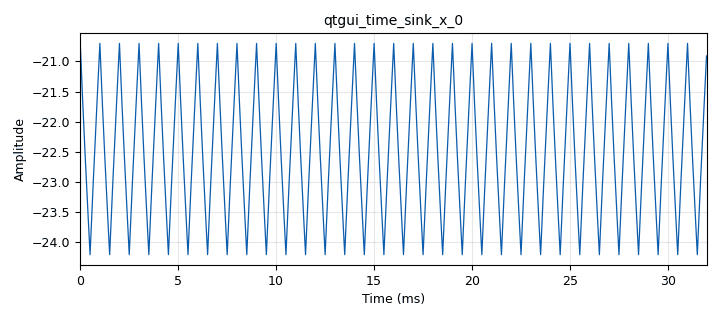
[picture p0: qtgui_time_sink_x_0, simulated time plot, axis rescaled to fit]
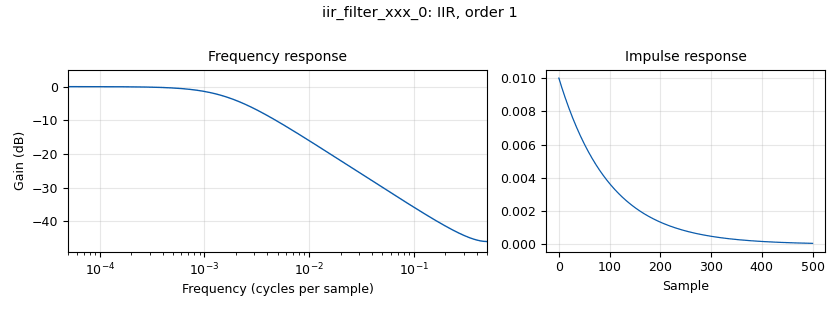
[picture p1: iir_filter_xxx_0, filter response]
options:
  parameters:
    author: Aman RIshal C H
    generate_options: qt_gui
    id: task2b
    output_language: python
    title: Not titled yet
  states: {}

blocks:
- name: samp_rate
  id: variable
  parameters:
    value: '32000'
  states: {}
- name: analog_sig_source_x_0
  id: analog_sig_source_x
  parameters:
    amp: '1'
    freq: '1000'
    offset: '45'
    phase: '0'
    samp_rate: samp_rate
    type: complex
    waveform: analog.GR_COS_WAVE
  states: {}
- name: blocks_complex_to_float_0
  id: blocks_complex_to_float
  parameters: {}
  states: {}
- name: blocks_multiply_xx_0
  id: blocks_multiply_xx
  parameters:
    type: float
  states: {}
- name: blocks_multiply_xx_0_0
  id: blocks_multiply_xx
  parameters:
    type: float
  states: {}
- name: blocks_sub_xx_0
  id: blocks_sub_xx
  parameters:
    type: float
  states: {}
- name: blocks_threshold_ff_0
  id: blocks_threshold_ff
  parameters:
    high: '0.001'
    init: '0'
    low: '-0.001'
  states: {}
- name: blocks_threshold_ff_0_0
  id: blocks_threshold_ff
  parameters:
    high: '0.001'
    init: '0'
    low: '-0.001'
  states: {}
- name: iir_filter_xxx_0
  id: iir_filter_xxx
  parameters:
    fbtaps: '[-1,0.99]'
    fftaps: '[0.01]'
    type: ffd
  states: {}
- name: qtgui_time_sink_x_0
  id: qtgui_time_sink_x
  parameters:
    size: '1024'
    srate: samp_rate
    type: float
  states: {}

connections:
- [analog_sig_source_x_0, '0', blocks_complex_to_float_0, '0']
- [blocks_complex_to_float_0, '0', blocks_multiply_xx_0_0, '1']
- [blocks_complex_to_float_0, '0', blocks_threshold_ff_0, '0']
- [blocks_complex_to_float_0, '1', blocks_multiply_xx_0, '0']
- [blocks_complex_to_float_0, '1', blocks_threshold_ff_0_0, '0']
- [blocks_multiply_xx_0, '0', blocks_sub_xx_0, '0']
- [blocks_multiply_xx_0_0, '0', blocks_sub_xx_0, '1']
- [blocks_sub_xx_0, '0', iir_filter_xxx_0, '0']
- [blocks_threshold_ff_0, '0', blocks_multiply_xx_0, '1']
- [blocks_threshold_ff_0_0, '0', blocks_multiply_xx_0_0, '0']
- [iir_filter_xxx_0, '0', qtgui_time_sink_x_0, '0']

metadata:
  file_format: 1
  grc_version: 3.10.9.2
